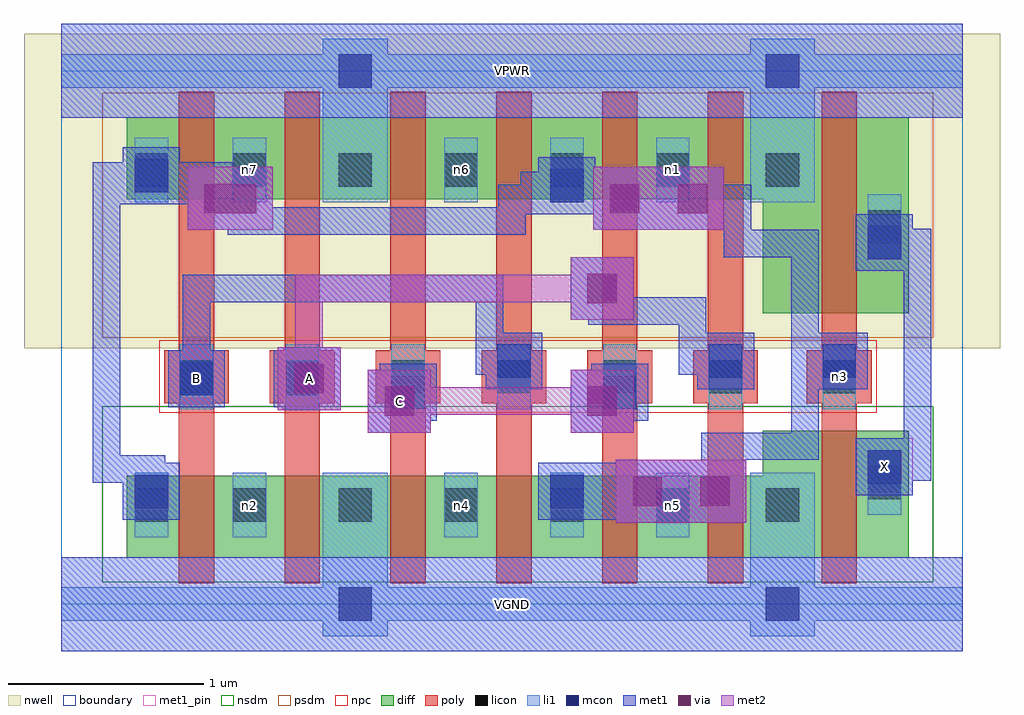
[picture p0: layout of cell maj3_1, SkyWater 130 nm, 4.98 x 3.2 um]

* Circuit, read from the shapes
.subckt maj3_1 A B C VGND VPWR X n1 n2 n3 n4 n5 n6 n7
XM1 n2 B n3 VSUBS sky130_fd_pr__nfet_01v8 w=0.42 l=0.18
XM2 VGND A n2 VSUBS sky130_fd_pr__nfet_01v8 w=0.42 l=0.18
XM3 n4 C VGND VSUBS sky130_fd_pr__nfet_01v8 w=0.42 l=0.18
XM4 n3 B n4 VSUBS sky130_fd_pr__nfet_01v8 w=0.42 l=0.18
XM5 n5 C n3 VSUBS sky130_fd_pr__nfet_01v8 w=0.42 l=0.18
XM6 VGND A n5 VSUBS sky130_fd_pr__nfet_01v8 w=0.42 l=0.18
XM7 X n3 VGND VSUBS sky130_fd_pr__nfet_01v8 w=0.65 l=0.18
XM8 n7 B n3 n8 sky130_fd_pr__pfet_01v8 w=0.42 l=0.18
XM9 VPWR A n7 n8 sky130_fd_pr__pfet_01v8 w=0.42 l=0.18
XM10 n6 C VPWR n8 sky130_fd_pr__pfet_01v8 w=0.42 l=0.18
XM11 n3 B n6 n8 sky130_fd_pr__pfet_01v8 w=0.42 l=0.18
XM12 n1 C n3 n8 sky130_fd_pr__pfet_01v8 w=0.42 l=0.18
XM13 VPWR A n1 n8 sky130_fd_pr__pfet_01v8 w=0.42 l=0.18
XM14 X n3 VPWR n8 sky130_fd_pr__pfet_01v8 w=1 l=0.18
.ends

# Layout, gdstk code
import gdstk
lib = gdstk.Library(unit=1e-6, precision=1e-09)
def R(c, l, rs):  # rectangles x0, y0, x1, y1
    for r in rs: c.add(gdstk.rectangle(r[:2], r[2:], *l))
def A(c, l, x, y, w, h, nx, ny, dx, dy):  # array of equal rectangles
    R(c, l, [(x+i*dx, y+j*dy, x+i*dx+w, y+j*dy+h) for i in range(nx) for j in range(ny)])
nwell = (64, 20)
diff = (65, 20)
poly = (66, 20)
licon = (66, 44)
li1 = (67, 20)
mcon = (67, 44)
met1_pin = (68, 16)
met1 = (68, 20)
via = (68, 44)
met2 = (69, 20)
nsdm = (93, 44)
psdm = (94, 20)
npc = (95, 20)
boundary = (235, 4)

maj3_1 = lib.new_cell('maj3_1')
R(maj3_1, nwell, [(-0.19,1.305,4.79,2.91), (0,1.305,4.6,2.91)])
R(maj3_1, diff, [(0.335,0.235,3.73,0.655), (3.58,0.235,4.325,0.885), (3.58,1.485,4.325,2.485), (0.335,2.065,3.73,2.485)])
A(maj3_1, poly, 0.6, 0.105, 0.18, 2.51, 6, 1, 0.54, 0)
A(maj3_1, poly, 0.525, 1.025, 0.33, 0.27, 6, 1, 0.54, 0)
R(maj3_1, poly, [(3.88,0.105,4.06,2.615), (3.805,1.025,4.135,1.295)])
A(maj3_1, licon, 0.875, 0.42, 0.17, 0.17, 5, 2, 0.54, 1.71)
A(maj3_1, licon, 0.605, 1.075, 0.17, 0.17, 6, 1, 0.54, 0)
R(maj3_1, licon, [(0.375,0.42,0.545,0.59), (3.595,0.42,3.765,0.59), (4.115,0.535,4.285,0.705), (3.885,1.075,4.055,1.245), (4.115,1.84,4.285,2.01), (0.375,2.13,0.545,2.3), (3.595,2.13,3.765,2.3)])
A(maj3_1, li1, 1.955, 0.34, 0.17, 0.33, 3, 2, 0.54, 1.71)
A(maj3_1, li1, 0.605, 0.995, 0.17, 0.33, 6, 1, 0.54, 0)
R(maj3_1, li1, [(1.335,-0.165,1.665,0.67), (3.515,-0.165,3.845,0.67), (0,-0.085,4.6,0.085), (0.375,0.34,0.545,0.67), (0.875,0.34,1.045,0.67), (4.115,0.455,4.285,0.785), (3.885,0.995,4.055,1.325), (4.115,1.76,4.285,2.09), (0.375,2.05,0.545,2.38), (0.875,2.05,1.045,2.38), (1.335,2.05,1.665,2.885), (3.515,2.05,3.845,2.885), (0,2.635,4.6,2.805)])
R(maj3_1, mcon, [(1.415,-0.085,1.585,0.085), (3.595,-0.085,3.765,0.085), (0.375,0.49,0.545,0.66), (2.495,0.49,2.665,0.66), (4.115,0.615,4.285,0.785), (1.685,0.995,1.855,1.165), (2.765,0.995,2.935,1.165), (0.605,1.065,0.775,1.235), (1.145,1.065,1.315,1.235), (2.225,1.155,2.395,1.325), (3.305,1.155,3.475,1.325), (3.885,1.155,4.055,1.325), (4.115,1.76,4.285,1.93), (2.495,2.05,2.665,2.22), (0.375,2.1,0.545,2.27), (1.415,2.635,1.585,2.805), (3.595,2.635,3.765,2.805)])
R(maj3_1, met1_pin, [(0,-0.24,4.6,0.24), (4.055,0.555,4.345,0.845), (1.565,0.875,1.885,1.195), (1.105,0.99,1.425,1.31), (0.545,1.005,0.835,1.295), (0,2.48,4.6,2.96)])
R(maj3_1, met1, [(0,-0.24,4.6,0.24), (2.83,0.415,3.15,0.735), (3.15,0.415,3.175,0.735), (3.175,0.415,3.495,0.735), (0.315,0.43,0.605,0.72), (2.435,0.43,2.725,0.72), (2.725,0.43,2.83,0.72), (0.39,0.505,0.53,0.76), (2.51,0.505,2.83,0.645), (2.69,0.505,3.06,0.645), (3.06,0.505,3.175,0.645), (3.15,0.505,3.265,0.735), (3.265,0.505,3.405,0.875), (4.055,0.555,4.345,0.845), (0.16,0.62,0.53,0.76), (0.16,0.62,0.3,2.255), (4.13,0.63,4.44,0.77), (4.3,0.63,4.44,0.875), (3.265,0.735,3.865,0.875), (3.725,0.735,3.865,1.45), (4.3,0.735,4.44,1.795), (1.565,0.875,1.885,1.195), (2.6,0.875,2.92,1.195), (1.625,0.935,1.915,1.225), (2.705,0.935,2.995,1.225), (1.655,0.965,1.795,1.15), (2.69,0.965,2.83,1.15), (1.105,0.99,1.425,1.31), (0.545,1.005,0.835,1.295), (1.085,1.005,1.375,1.295), (1.655,1.01,1.84,1.15), (2.69,1.01,2.92,1.15), (0.62,1.08,0.76,1.68), (1.16,1.08,1.335,1.22), (2.165,1.095,2.455,1.385), (3.245,1.095,3.535,1.385), (3.825,1.095,4.115,1.385), (2.115,1.17,2.38,1.31), (2.115,1.17,2.255,1.45), (3.15,1.17,3.29,1.45), (3.15,1.17,3.46,1.31), (3.725,1.17,3.865,1.45), (3.725,1.17,4.04,1.31), (2.115,1.31,2.255,1.68), (3.15,1.31,3.29,1.565), (3.725,1.31,3.865,1.91), (2.69,1.425,2.83,1.68), (2.69,1.425,3.29,1.565), (2.6,1.45,2.92,1.77), (0.62,1.54,2.255,1.68), (4.3,1.655,4.44,1.915), (4.055,1.7,4.345,1.99), (3.38,1.77,3.52,2.14), (3.38,1.77,3.865,1.91), (4.13,1.775,4.44,1.915), (0.85,1.885,0.99,2.14), (0.85,1.885,2.37,2.025), (2.23,1.885,2.37,2.14), (0.645,1.91,0.965,2.23), (0.76,1.91,1.08,2.23), (2.715,1.91,3.035,2.23), (3.035,1.91,3.06,2.23), (3.06,1.91,3.38,2.23), (2.37,1.99,2.435,2.025), (2.37,1.99,2.435,2.14), (2.435,1.99,2.725,2.28), (0.735,2,0.875,2.255), (2.23,2,2.485,2.14), (2.345,2,2.945,2.14), (2.345,2,2.485,2.205), (2.945,2,3.06,2.14), (3.035,2,3.15,2.14), (3.15,2,3.52,2.14), (0.3,2.04,0.315,2.255), (0.315,2.04,0.605,2.33), (0.605,2.04,0.735,2.255), (0.605,2.04,0.645,2.23), (2.345,2.065,2.65,2.205), (0.16,2.115,0.53,2.255), (0.39,2.115,0.875,2.255), (0,2.48,4.6,2.96)])
R(maj3_1, via, [(2.915,0.5,3.065,0.65), (3.26,0.5,3.41,0.65), (1.65,0.96,1.8,1.11), (2.685,0.96,2.835,1.11), (1.19,1.075,1.34,1.225), (2.685,1.535,2.835,1.685), (0.73,1.995,0.88,2.145), (0.845,1.995,0.995,2.145), (2.8,1.995,2.95,2.145), (3.145,1.995,3.295,2.145)])
R(maj3_1, met2, [(2.83,0.415,3.15,0.735), (3.15,0.415,3.175,0.735), (3.175,0.415,3.495,0.735), (2.92,0.505,3.405,0.645), (1.565,0.875,1.885,1.195), (2.6,0.875,2.92,1.195), (1.655,0.965,2.83,1.105), (1.105,0.99,1.425,1.31), (1.195,1.08,1.335,1.68), (2.6,1.45,2.92,1.77), (1.195,1.54,2.83,1.68), (0.645,1.91,0.965,2.23), (0.76,1.91,1.08,2.23), (2.715,1.91,3.035,2.23), (3.035,1.91,3.06,2.23), (3.06,1.91,3.38,2.23), (0.735,2,0.99,2.14), (2.805,2,3.29,2.14)])
R(maj3_1, nsdm, [(0.21,0.11,4.45,1.01)])
R(maj3_1, psdm, [(0.21,1.36,4.45,2.61)])
R(maj3_1, npc, [(0.5,0.975,4.16,1.345)])
R(maj3_1, boundary, [(0,0,4.6,2.72)])
maj3_1.add(gdstk.Label('n3', (3.97,1.16), layer=67, texttype=5))
maj3_1.add(gdstk.Label('n2', (0.96,0.505), layer=67, texttype=5))
maj3_1.add(gdstk.Label('n4', (2.04,0.505), layer=67, texttype=5))
maj3_1.add(gdstk.Label('n5', (3.12,0.505), layer=67, texttype=5))
maj3_1.add(gdstk.Label('n7', (0.96,2.215), layer=67, texttype=5))
maj3_1.add(gdstk.Label('n6', (2.04,2.215), layer=67, texttype=5))
maj3_1.add(gdstk.Label('n1', (3.12,2.215), layer=67, texttype=5))
maj3_1.add(gdstk.Label('A', (1.265,1.15), layer=68, texttype=5))
maj3_1.add(gdstk.Label('B', (0.69,1.15), layer=68, texttype=5))
maj3_1.add(gdstk.Label('C', (1.725,1.035), layer=68, texttype=5))
maj3_1.add(gdstk.Label('X', (4.2,0.7), layer=68, texttype=5))
maj3_1.add(gdstk.Label('VPWR', (2.3,2.72), layer=68, texttype=5))
maj3_1.add(gdstk.Label('VGND', (2.3,0), layer=68, texttype=5))
maj3_1.add(gdstk.Label('A', (1.265,1.15), layer=68, texttype=16))
maj3_1.add(gdstk.Label('B', (0.69,1.15), layer=68, texttype=16))
maj3_1.add(gdstk.Label('C', (1.725,1.035), layer=68, texttype=16))
maj3_1.add(gdstk.Label('X', (4.2,0.7), layer=68, texttype=16))
maj3_1.add(gdstk.Label('VPWR', (2.3,2.72), layer=68, texttype=16))
maj3_1.add(gdstk.Label('VGND', (2.3,0), layer=68, texttype=16))

lib.write_gds('maj3_1.gds')
